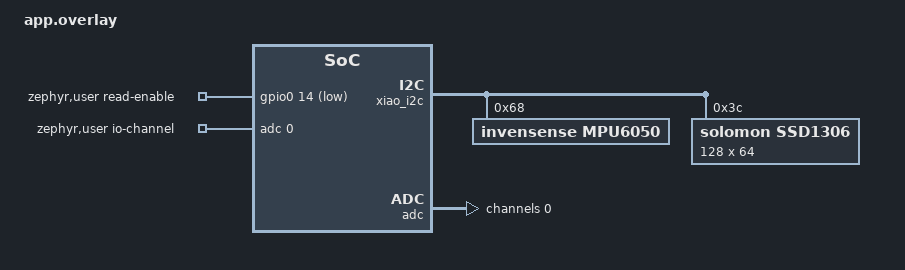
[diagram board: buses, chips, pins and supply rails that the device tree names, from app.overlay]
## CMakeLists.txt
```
# SPDX-License-Identifier: Apache-2.0

cmake_minimum_required(VERSION 3.28.0)
option(WATCH_CALIBRATION "Build the USB wrist calibration recorder" OFF)
if(WATCH_CALIBRATION)
  set(CONF_FILE "${CMAKE_CURRENT_SOURCE_DIR}/calibration.conf" CACHE STRING "Calibration Kconfig file" FORCE)
  set(EXTRA_DTC_OVERLAY_FILE "${CMAKE_CURRENT_SOURCE_DIR}/calibration.overlay")
endif()
find_package(Zephyr REQUIRED HINTS $ENV{ZEPHYR_BASE})
project(xiao_wearable)

if(WATCH_CALIBRATION)
  target_sources(app PRIVATE src/calibration.c)
else()
  target_sources(app PRIVATE src/main.c)
endif()
```

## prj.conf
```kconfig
CONFIG_I2C=y
CONFIG_ADC=y
CONFIG_GPIO=y
CONFIG_DISPLAY=y
CONFIG_SSD1306=y
CONFIG_CHARACTER_FRAMEBUFFER=y
CONFIG_PRINTK=y
CONFIG_LOG=y
CONFIG_BT=y
CONFIG_BT_PERIPHERAL=y
CONFIG_BT_DEVICE_NAME="FitnessWatch"
CONFIG_BT_MAX_CONN=1
CONFIG_MAIN_STACK_SIZE=4096
CONFIG_FPU=y
CONFIG_FPU_SHARING=y
CONFIG_SYSTEM_WORKQUEUE_STACK_SIZE=2048
CONFIG_HEAP_MEM_POOL_SIZE=4096
CONFIG_SENSOR=y
CONFIG_MPU6050=y
CONFIG_MPU6050_TRIGGER_NONE=y
CONFIG_FLASH=y
CONFIG_NVS=y
CONFIG_NVS_DATA_CRC=y
CONFIG_MPU_ALLOW_FLASH_WRITE=y
```

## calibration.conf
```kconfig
CONFIG_I2C=y
CONFIG_DISPLAY=y
CONFIG_SSD1306=y
CONFIG_CHARACTER_FRAMEBUFFER=y
CONFIG_SENSOR=y
CONFIG_MPU6050=y
CONFIG_MPU6050_TRIGGER_NONE=y
CONFIG_MAIN_STACK_SIZE=4096
CONFIG_SYSTEM_WORKQUEUE_STACK_SIZE=2048
CONFIG_HEAP_MEM_POOL_SIZE=4096
CONFIG_LOG=n
CONFIG_PRINTK=n
CONFIG_BOOT_BANNER=n
CONFIG_CRC=y
CONFIG_UART_LINE_CTRL=y
```

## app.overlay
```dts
#include <zephyr/dt-bindings/adc/adc.h>
#include <zephyr/dt-bindings/adc/nrf-saadc.h>
#include <zephyr/dt-bindings/gpio/gpio.h>

/*
 * XIAO nRF52840 wearable peripherals.
 *
 * The OLED and external sensors sit on the XIAO header I2C bus (xiao_i2c = i2c1):
 *   SDA = D4 / P0.04
 *   SCL = D5 / P0.05
 * The MPU-6050 address assumes AD0 is low.
 *
 * SPDX-License-Identifier: Apache-2.0
 */

&lsm6ds3tr_c {
	status = "disabled";
};

&xiao_i2c {
	status = "okay";

	/* Fermion I2C/UART module: application uses DFRobot MCU protocol.
	 * Do not bind the bare MAX30102 register driver to this address. */

	mpu6050: mpu6050@68 {
		compatible = "invensense,mpu6050";
		reg = <0x68>;
	};
	/* SSD1306 128x64 monochrome OLED (driven by the SSD1306 driver) */
	ssd1306: ssd1306@3c {
		compatible = "solomon,ssd1306";
		reg = <0x3c>;
		width = <128>;
		height = <64>;
		segment-offset = <0>;
		page-offset = <0>;
		display-offset = <0>;
		multiplex-ratio = <63>;
		segment-remap;
		com-invdir;
		prechargep = <0x22>;
		status = "okay";
	};
};

/ {
	zephyr,user {
		io-channels = <&adc 0>;
		read-enable-gpios = <&gpio0 14 (GPIO_ACTIVE_LOW | GPIO_OPEN_DRAIN)>;
	};

	chosen {
		zephyr,display = &ssd1306;
	};
};

&adc {
	#address-cells = <1>;
	#size-cells = <0>;

	channel@0 {
		reg = <0>;
		zephyr,gain = "ADC_GAIN_1_3";
		zephyr,reference = "ADC_REF_INTERNAL";
		zephyr,acquisition-time = <ADC_ACQ_TIME(ADC_ACQ_TIME_MICROSECONDS, 40)>;
		zephyr,input-positive = <NRF_SAADC_AIN7>;
		zephyr,resolution = <12>;
		zephyr,oversampling = <4>;
	};
};
```

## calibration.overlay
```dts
&board_cdc_acm_uart {
	hw-flow-control;
	tx-fifo-size = <4096>;
};
```

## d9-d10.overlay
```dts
/* SPDX-License-Identifier: Apache-2.0 */

#include <zephyr/dt-bindings/pinctrl/nrf-pinctrl.h>

/* D9 is SDA (P1.14) and D10 is SCL (P1.15). */
&i2c1_default {
	group1 {
		psels = <NRF_PSEL(TWIM_SDA, 1, 14)>,
			<NRF_PSEL(TWIM_SCL, 1, 15)>;
	};
};

&i2c1_sleep {
	group1 {
		psels = <NRF_PSEL(TWIM_SDA, 1, 14)>,
			<NRF_PSEL(TWIM_SCL, 1, 15)>;
	};
};

&xiao_spi {
	status = "disabled";
};
```

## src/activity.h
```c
#ifndef WATCH_ACTIVITY_H
#define WATCH_ACTIVITY_H

#include <stdbool.h>
#include <stdint.h>

struct watch_steps {
 uint32_t count;
 uint32_t last_peak_ms;
 uint32_t previous_interval_ms;
 float gravity;
 float dynamic;
 uint8_t streak;
 bool initialized;
 bool above;
};

static inline float watch_squared_magnitude(const int32_t axes[3])
{
 return (float)axes[0] * axes[0] + (float)axes[1] * axes[1] + (float)axes[2] * axes[2];
}

static inline void watch_steps_break(struct watch_steps *s)
{
 *s = (struct watch_steps){.count = s->count};
}

static inline void watch_steps_sample(struct watch_steps *s, uint32_t now, const int32_t accel[3])
{
 float magnitude = watch_squared_magnitude(accel);
 if (!s->initialized) {
  s->gravity = magnitude;
  s->initialized = true;
 }
 s->gravity += (magnitude - s->gravity) / 16;
 s->dynamic += (magnitude - s->gravity - s->dynamic) / 3;
 if (s->dynamic < 5000000.0f) s->above = false;
 if (s->above || s->dynamic < 19000000.0f) return;
 s->above = true;

 uint32_t interval = now - s->last_peak_ms;
 if (s->streak && interval < 280) return;
 s->last_peak_ms = now;
 if (!s->streak || interval > 1150) {
  s->streak = 1;
  s->previous_interval_ms = 0;
  return;
 }
 uint32_t previous = s->previous_interval_ms;
 uint32_t difference = interval > previous ? interval - previous : previous - interval;
 if (previous && difference > previous / 3) {
  s->streak = 1;
  s->previous_interval_ms = 0;
  return;
 }
 s->previous_interval_ms = interval;
 /* Credit the first three peaks once a walking cadence is established. */
 if (s->streak < 3) {
  if (++s->streak == 3) s->count += 3;
 } else {
  ++s->count;
 }
}

static inline bool watch_is_moving(const struct watch_steps *s, const int32_t gyro[3])
{
 return watch_squared_magnitude(gyro) >= 250000.0f ||
        s->dynamic > 12000000.0f || s->dynamic < -12000000.0f;
}

struct watch_clock {
 uint32_t epoch;
 int16_t offset_minutes;
 int64_t set_at_ms;
};

static inline bool watch_clock_set(struct watch_clock *clock, uint32_t epoch, int16_t offset,
                                   int64_t now)
{
 if (epoch < 946684800 || offset < -720 || offset > 840) return false;
 *clock = (struct watch_clock){.epoch = epoch, .offset_minutes = offset, .set_at_ms = now};
 return true;
}

static inline uint32_t watch_clock_seconds(const struct watch_clock *clock, int64_t now)
{
 if (!clock->epoch || now < clock->set_at_ms) return 0;
 uint64_t epoch = clock->epoch + (uint64_t)(now - clock->set_at_ms) / 1000;
 return epoch <= UINT32_MAX ? (uint32_t)epoch : 0;
}

#define WATCH_DAILY_STEP_GOAL 10000U

struct watch_daily_step_record {
 uint32_t day;
 uint32_t steps;
};

struct watch_daily_steps {
 struct watch_daily_step_record record;
 uint32_t last_session_count;
};

static inline void watch_daily_steps_update(struct watch_daily_steps *daily, uint32_t epoch,
                                            int16_t offset_minutes, uint32_t session_count)
{
 if (!epoch) return;
 uint32_t day = ((int64_t)epoch + (int32_t)offset_minutes * 60) / 86400;
 if (day != daily->record.day) {
  daily->record = (struct watch_daily_step_record){.day = day};
 }
 daily->record.steps += session_count - daily->last_session_count;
 daily->last_session_count = session_count;
}

static inline uint16_t watch_step_goal_fill(uint32_t steps, uint16_t width)
{
 if (steps >= WATCH_DAILY_STEP_GOAL) return width;
 return steps * width / WATCH_DAILY_STEP_GOAL;
}
#endif
```

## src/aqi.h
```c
/* SPDX-License-Identifier: Apache-2.0 */
#ifndef WATCH_AQI_H
#define WATCH_AQI_H

#include <stdbool.h>
#include <stdint.h>

#define WATCH_AQI_PACKET_SIZE 5U
#define WATCH_AQI_MAX_VALID_SECONDS 7200U

struct watch_aqi {
 int64_t expires_ms;
 uint16_t value;
};

static inline bool watch_aqi_receive(struct watch_aqi *reading,
                                    const uint8_t data[WATCH_AQI_PACKET_SIZE], int64_t now)
{
 if (data[0] != 2) return false;
 uint16_t value = data[1] | ((uint16_t)data[2] << 8);
 uint16_t valid_seconds = data[3] | ((uint16_t)data[4] << 8);
 if (value > 500 || valid_seconds == 0 || valid_seconds > WATCH_AQI_MAX_VALID_SECONDS) return false;
 reading->value = value;
 reading->expires_ms = now + (int64_t)valid_seconds * 1000;
 return true;
}

static inline bool watch_aqi_current(const struct watch_aqi *reading, int64_t now,
                                    uint16_t *value)
{
 if (now >= reading->expires_ms) return false;
 *value = reading->value;
 return true;
}

/* For a current reading, its remaining lifetime encodes the age at sync. */
static inline uint16_t watch_aqi_age_minutes(const struct watch_aqi *reading, int64_t now)
{
 return (WATCH_AQI_MAX_VALID_SECONDS * 1000 - (reading->expires_ms - now)) / 60000;
}

static inline const char *watch_aqi_category(uint16_t value)
{
 if (value <= 50) return "Good";
 if (value <= 100) return "Satisfactory";
 if (value <= 200) return "Moderate";
 if (value <= 300) return "Poor";
 if (value <= 400) return "Very Poor";
 return "Severe";
}

#endif
```

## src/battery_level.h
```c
/* SPDX-License-Identifier: Apache-2.0 */
#ifndef WATCH_BATTERY_LEVEL_H
#define WATCH_BATTERY_LEVEL_H

#include <stdbool.h>
#include <stdio.h>

static inline int watch_battery_millivolts(int divided_mv)
{
 return (divided_mv * 1510 + 255) / 510;
}

static inline int watch_battery_label(char label[5], bool usb_power, int battery_mv)
{
 if (usb_power) {
  snprintf(label, 5, "USB");
  return -1;
 } else if (battery_mv < 2500 || battery_mv > 4350) {
  snprintf(label, 5, "--%%");
  return -1;
 }
 /* Approximate a single-cell LiPo under watch load over 3.4–4.2 V. */
 int percent = battery_mv <= 3400 ? 0 :
               battery_mv >= 4200 ? 100 : (battery_mv - 3400 + 4) / 8;
 snprintf(label, 5, "%d%%", percent);
 return percent;
}

static inline int watch_battery_fill(int percent, int columns)
{
 if (percent <= 0) return 0;
 return (percent * columns + 99) / 100;
}

#endif
```

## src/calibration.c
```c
/* SPDX-License-Identifier: Apache-2.0 */
#include <zephyr/device.h>
#include <zephyr/display/cfb.h>
#include <zephyr/drivers/sensor.h>
#include <zephyr/drivers/uart.h>
#include <zephyr/sys/crc.h>
#include <stdarg.h>
#include <stdio.h>
#include "max30102.h"

static const struct device *const bus = DEVICE_DT_GET(DT_NODELABEL(xiao_i2c));
static const struct device *const imu = DEVICE_DT_GET(DT_NODELABEL(mpu6050));
static const struct device *const oled = DEVICE_DT_GET(DT_CHOSEN(zephyr_display));
static const struct device *const usb = DEVICE_DT_GET(DT_CHOSEN(zephyr_console));

static void emit(const char *format, ...)
{
 char frame[112];
 va_list args;
 va_start(args, format);
 int length = vsnprintf(frame, sizeof(frame) - 7, format, args);
 va_end(args);
 if (length < 0 || (size_t)length >= sizeof(frame) - 7) return;

 uint16_t crc = crc16_itu_t(0xffff, (const uint8_t *)frame, length);
 length += snprintf(frame + length, sizeof(frame) - length, "*%04x\n", (unsigned int)crc);
 for (int i = 0; i < length; ++i) uart_poll_out(usb, frame[i]);
}

static void record_motion(uint32_t sequence, uint32_t now)
{
 struct sensor_value axes[6];
 int err = device_is_ready(imu) ? sensor_sample_fetch(imu) : -ENODEV;
 if (!err) err = sensor_channel_get(imu, SENSOR_CHAN_ACCEL_XYZ, axes);
 if (!err) err = sensor_channel_get(imu, SENSOR_CHAN_GYRO_XYZ, axes + 3);
 if (err) {
  emit("E,%u,IMU,%d", now, err);
  return;
 }
 int32_t scaled[6];
 for (unsigned i = 0; i < ARRAY_SIZE(scaled); ++i) {
  scaled[i] = sensor_value_to_micro(&axes[i]) / 1000;
 }
 emit("M,%u,%u,%d,%d,%d,%d,%d,%d", sequence, now,
      scaled[0], scaled[1], scaled[2], scaled[3], scaled[4], scaled[5]);
}

int main(void)
{
 if (device_is_ready(oled) && cfb_framebuffer_init(oled) == 0) {
  cfb_framebuffer_invert(oled);
  display_blanking_off(oled);
  cfb_framebuffer_clear(oled, false);
  cfb_print(oled, "USB calibration", 0, 0);
  cfb_print(oled, "Run capture", 0, 16);
  cfb_framebuffer_finalize(oled);
 }
 if (!device_is_ready(usb)) return -ENODEV;

 bool recording = false;
 bool optical_started = false;
 uint32_t optical_sequence = 0, motion_sequence = 0;
 int64_t next_retry = 0, next_motion = 0;
 while (1) {
  uint32_t dtr = 0;
  if (uart_line_ctrl_get(usb, UART_LINE_CTRL_DTR, &dtr) || !dtr) {
   recording = false;
   k_sleep(K_MSEC(25));
   continue;
  }
  int64_t now = k_uptime_get();
  unsigned char command;
  while (uart_poll_in(usb, &command) == 0) {
   if (command == 'S' && !recording) {
    recording = true;
    optical_started = false;
    next_retry = now;
    next_motion = now;
    ++optical_sequence;
   } else if (command == 'X') {
    recording = false;
   }
  }
  if (!recording) {
   k_sleep(K_MSEC(10));
   continue;
  }
  if (!optical_started && now >= next_retry) {
   int err = device_is_ready(bus) ? max30102_start(bus) : -ENODEV;
   optical_started = err == 0;
   next_retry = now + 1000;
   if (err) emit("E,%u,PPG,%d", (uint32_t)now, err);
  }
  if (optical_started) {
   struct max30102_sample samples[31];
   int count = max30102_read_fifo(bus, samples, ARRAY_SIZE(samples));
   if (count < 0 && count != -EAGAIN) {
    emit("E,%u,PPG,%d", (uint32_t)now, count);
    ++optical_sequence;
    optical_started = false;
    next_retry = now + 1000;
   }
   for (int i = 0; i < count; ++i) {
    emit("P,%u,%u,%u,%u", optical_sequence++, (uint32_t)now,
         samples[i].red, samples[i].ir);
   }
  }
  if (now >= next_motion) {
   record_motion(motion_sequence++, (uint32_t)now);
   next_motion += 40;
   if (next_motion <= now) next_motion = now + 40;
  }
  k_sleep(K_MSEC(5));
 }
}
```

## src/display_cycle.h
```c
/* SPDX-License-Identifier: Apache-2.0 */
#ifndef WATCH_DISPLAY_CYCLE_H
#define WATCH_DISPLAY_CYCLE_H

#include <stdbool.h>
#include <stddef.h>
#include <stdint.h>

enum watch_display_page {
 WATCH_DISPLAY_SPLASH = -1,
 WATCH_DISPLAY_TIME,
 WATCH_DISPLAY_BPM,
 WATCH_DISPLAY_STEPS,
 WATCH_DISPLAY_AQI,
 WATCH_DISPLAY_PAGE_COUNT,
};

struct watch_screen_order {
 uint8_t count;
 uint8_t pages[WATCH_DISPLAY_PAGE_COUNT];
};

#define WATCH_DEFAULT_SCREEN_ORDER { .count = WATCH_DISPLAY_PAGE_COUNT, \
 .pages = {WATCH_DISPLAY_TIME, WATCH_DISPLAY_BPM, WATCH_DISPLAY_STEPS, WATCH_DISPLAY_AQI} }
#define WATCH_SCREEN_PACKET_MAX (1 + WATCH_DISPLAY_PAGE_COUNT)

static inline bool watch_screen_order_decode(struct watch_screen_order *order,
                                            const uint8_t *data, size_t len)
{
 if (len < 2 || len > WATCH_SCREEN_PACKET_MAX || data[0] != 1) return false;
 struct watch_screen_order candidate = {.count = len - 1};
 unsigned seen = 0;
 for (size_t i = 0; i < candidate.count; i++) {
  uint8_t page = data[1 + i];
  if (page >= WATCH_DISPLAY_PAGE_COUNT || (seen & (1U << page))) return false;
  seen |= 1U << page;
  candidate.pages[i] = page;
 }
 *order = candidate;
 return true;
}

static inline size_t watch_screen_order_encode(const struct watch_screen_order *order,
                                              uint8_t data[WATCH_SCREEN_PACKET_MAX])
{
 data[0] = 1;
 for (size_t i = 0; i < order->count; i++) data[i + 1] = order->pages[i];
 return 1 + order->count;
}

static inline enum watch_display_page watch_configured_page_at(uint64_t elapsed_ms,
                                                              uint64_t changed_ms,
                                                              const struct watch_screen_order *order)
{
 const uint64_t splash_ms = 3000U;
 const uint64_t page_duration_ms = 5000U;
 if (elapsed_ms < splash_ms) return WATCH_DISPLAY_SPLASH;
 uint64_t cycle_start = changed_ms > splash_ms ? changed_ms : splash_ms;
 uint64_t cycle_elapsed = elapsed_ms > cycle_start ? elapsed_ms - cycle_start : 0;
 return order->pages[(cycle_elapsed / page_duration_ms) % order->count];
}

#endif
```

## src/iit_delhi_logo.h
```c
#ifndef WATCH_IIT_DELHI_LOGO_H
#define WATCH_IIT_DELHI_LOGO_H

#include <stdint.h>

/* IIT Delhi seal: https://home.iitd.ac.in/images/preloaders/logo.png
 * Alpha mask downsampled to 60 x 60, then packed by row, MSB first.
 */
#define IIT_DELHI_LOGO_WIDTH 60
#define IIT_DELHI_LOGO_HEIGHT 60
#define IIT_DELHI_LOGO_STRIDE ((IIT_DELHI_LOGO_WIDTH + 7) / 8)

static const uint8_t iit_delhi_logo[IIT_DELHI_LOGO_HEIGHT][IIT_DELHI_LOGO_STRIDE] = {
 {0x00, 0x00, 0x00, 0x46, 0x20, 0x00, 0x00, 0x00},
 {0x00, 0x00, 0x04, 0xef, 0x72, 0x00, 0x00, 0x00},
 {0x00, 0x00, 0x0e, 0xff, 0xf7, 0x00, 0x00, 0x00},
 {0x00, 0x00, 0xdf, 0xff, 0xff, 0xb0, 0x00, 0x00},
 {0x00, 0x01, 0xff, 0x00, 0x0f, 0xf8, 0x00, 0x00},
 {0x00, 0x05, 0xf8, 0x00, 0x01, 0xfa, 0x00, 0x00},
 {0x00, 0x0f, 0xc0, 0x02, 0x00, 0x3f, 0x00, 0x00},
 {0x00, 0x0f, 0x80, 0xe5, 0x00, 0x1f, 0x00, 0x00},
 {0x00, 0x6e, 0x03, 0x0c, 0x34, 0x07, 0x60, 0x00},
 {0x00, 0xfc, 0x16, 0x00, 0x07, 0x03, 0xf0, 0x00},
 {0x00, 0xf8, 0x20, 0x00, 0x01, 0x81, 0xf0, 0x00},
 {0x00, 0x70, 0x20, 0x00, 0x00, 0x20, 0x60, 0x00},
 {0x03, 0xe0, 0x00, 0x0f, 0x00, 0x20, 0x7c, 0x00},
 {0x07, 0xc3, 0x02, 0x3f, 0xc4, 0x04, 0x3e, 0x00},
 {0x03, 0x8c, 0x0f, 0xff, 0xff, 0x02, 0x1c, 0x00},
 {0x0f, 0x08, 0x1f, 0xc0, 0x7f, 0x84, 0x0d, 0x00},
 {0x1f, 0x00, 0x1f, 0x00, 0x0f, 0x81, 0x0f, 0x80},
 {0x1e, 0x10, 0x1c, 0x00, 0x03, 0x80, 0x87, 0x80},
 {0x0c, 0x20, 0x30, 0x00, 0x01, 0xe0, 0xc3, 0x00},
 {0x0c, 0x21, 0xe0, 0x30, 0xc0, 0xf8, 0x63, 0x80},
 {0x3c, 0x63, 0xc0, 0x80, 0x10, 0x7c, 0x43, 0xc0},
 {0x78, 0x03, 0xc1, 0x00, 0x08, 0x3c, 0x01, 0xe0},
 {0x38, 0x07, 0x82, 0x00, 0x04, 0x1e, 0x01, 0xc0},
 {0x18, 0x03, 0x04, 0x02, 0x02, 0x1c, 0x01, 0x80},
 {0x70, 0x03, 0x08, 0x30, 0x80, 0x0c, 0x00, 0xe0},
 {0xf0, 0x03, 0x08, 0x44, 0x41, 0x0c, 0x00, 0xf0},
 {0x70, 0x06, 0x00, 0x4e, 0x20, 0x06, 0x00, 0xe0},
 {0x31, 0x86, 0x00, 0x9b, 0x10, 0x87, 0x0c, 0xc0},
 {0x70, 0x0e, 0x00, 0x00, 0x10, 0x87, 0x00, 0xe0},
 {0xf0, 0x0e, 0x00, 0x8c, 0x10, 0x87, 0x00, 0xf0},
 {0xf0, 0x0e, 0x08, 0x1f, 0x90, 0x87, 0x00, 0xf0},
 {0x70, 0x0e, 0x08, 0x27, 0x10, 0x87, 0x00, 0xe0},
 {0x30, 0x0e, 0x04, 0x32, 0x20, 0x86, 0x00, 0xc0},
 {0x70, 0x06, 0x00, 0x40, 0x20, 0x06, 0x00, 0xe0},
 {0xf1, 0x83, 0x02, 0x80, 0x61, 0x04, 0x18, 0xf0},
 {0x71, 0x83, 0x01, 0x80, 0x90, 0x0c, 0x18, 0xe0},
 {0x19, 0x83, 0x01, 0xc3, 0x02, 0x0c, 0x11, 0x80},
 {0x38, 0xc3, 0x81, 0x00, 0x0c, 0x1e, 0x01, 0xc0},
 {0x78, 0xc3, 0xc2, 0x00, 0x00, 0x1c, 0x11, 0xe0},
 {0x3c, 0x43, 0xc2, 0x06, 0x04, 0x3c, 0x23, 0xc0},
 {0x1c, 0x61, 0xe4, 0xcf, 0x12, 0x78, 0x63, 0x80},
 {0x0c, 0x60, 0x3d, 0xcb, 0x32, 0xc0, 0x63, 0x00},
 {0x1e, 0x30, 0x18, 0xc0, 0x31, 0x80, 0x07, 0x80},
 {0x1f, 0x10, 0x18, 0xc0, 0x00, 0x81, 0x87, 0x80},
 {0x0f, 0x00, 0x10, 0x00, 0x00, 0x80, 0x0f, 0x00},
 {0x03, 0x8c, 0x09, 0xc0, 0x3b, 0x03, 0x1c, 0x00},
 {0x07, 0xc6, 0x02, 0x30, 0xc4, 0x06, 0x3e, 0x00},
 {0x03, 0xe3, 0x00, 0x19, 0x00, 0x04, 0x7c, 0x00},
 {0x00, 0x60, 0xc0, 0x00, 0x00, 0x30, 0x60, 0x00},
 {0x00, 0xf8, 0x10, 0x00, 0x00, 0x71, 0xf0, 0x00},
 {0x00, 0xfc, 0x10, 0x00, 0x01, 0xc3, 0xf0, 0x00},
 {0x00, 0x6e, 0x0f, 0x80, 0x07, 0x07, 0x60, 0x00},
 {0x00, 0x0f, 0x80, 0x9d, 0xf4, 0x1f, 0x00, 0x00},
 {0x00, 0x0f, 0xc0, 0x1c, 0x00, 0x3f, 0x00, 0x00},
 {0x00, 0x04, 0xf8, 0x00, 0x01, 0xfa, 0x00, 0x00},
 {0x00, 0x01, 0xff, 0x00, 0x0f, 0xf8, 0x00, 0x00},
 {0x00, 0x00, 0xdf, 0xff, 0xff, 0xb0, 0x00, 0x00},
 {0x00, 0x00, 0x0e, 0xff, 0xf7, 0x00, 0x00, 0x00},
 {0x00, 0x00, 0x04, 0xef, 0x72, 0x00, 0x00, 0x00},
 {0x00, 0x00, 0x00, 0x46, 0x20, 0x00, 0x00, 0x00},
};

#endif
```

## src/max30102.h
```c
/* SPDX-License-Identifier: Apache-2.0 */
#ifndef WATCH_MAX30102_H
#define WATCH_MAX30102_H
#include <zephyr/drivers/i2c.h>
#include <zephyr/kernel.h>
#include <errno.h>

#define MAX30102_ADDR 0x57
#define MAX30102_FIFO_WR 0x04
#define MAX30102_FIFO_DATA 0x07
#define MAX30102_MODE 0x09
#define MAX30102_PART_ID 0xff

static inline int max30102_start(const struct device *bus)
{
 uint8_t id;
 int err = i2c_reg_read_byte(bus, MAX30102_ADDR, MAX30102_PART_ID, &id);
 if (err) return err;
 if (id != 0x15) return -ENODEV;

 err = i2c_reg_write_byte(bus, MAX30102_ADDR, MAX30102_MODE, 0x40);
 if (err) return err;
 uint8_t mode;
 for (int attempt = 0; attempt < 10; attempt++) {
  k_sleep(K_MSEC(5));
  err = i2c_reg_read_byte(bus, MAX30102_ADDR, MAX30102_MODE, &mode);
  if (err) return err;
  if (!(mode & 0x40)) break;
 }
 if (mode & 0x40) return -ETIMEDOUT;

 /* Clear FIFO pointers, disable averaging, use 50 Hz at 18 bits,
  * and drive each LED at about 6.4 mA for the bench test. */
 const uint8_t settings[][2] = {
  {0x04, 0}, {0x05, 0}, {0x06, 0}, {0x08, 0x00}, {0x0a, 0x23},
  {0x0c, 0x20}, {0x0d, 0x20}, {MAX30102_MODE, 0x03},
 };
 for (size_t i = 0; i < ARRAY_SIZE(settings); i++) {
  err = i2c_reg_write_byte(bus, MAX30102_ADDR, settings[i][0], settings[i][1]);
  if (err) return err;
 }
 return 0;
}

struct max30102_sample {
 uint32_t red;
 uint32_t ir;
};

static inline int max30102_read_fifo(const struct device *bus,
                                    struct max30102_sample *samples, unsigned capacity)
{
 uint8_t pointers[3];
 int err = i2c_burst_read(bus, MAX30102_ADDR, MAX30102_FIFO_WR, pointers, sizeof(pointers));
 if (err) return err;
 if (pointers[1]) return -EOVERFLOW;
 unsigned count = (pointers[0] - pointers[2]) & 0x1f;
 if (!count) return -EAGAIN;
 if (count > capacity) count = capacity;
 for (unsigned i = 0; i < count; ++i) {
  uint8_t data[6];
  err = i2c_burst_read(bus, MAX30102_ADDR, MAX30102_FIFO_DATA, data, sizeof(data));
  if (err) return err;
  samples[i].red = ((uint32_t)(data[0] & 3) << 16) | ((uint32_t)data[1] << 8) | data[2];
  samples[i].ir = ((uint32_t)(data[3] & 3) << 16) | ((uint32_t)data[4] << 8) | data[5];
 }
 return (int)count;
}
#endif
```

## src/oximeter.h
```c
#ifndef WATCH_OXIMETER_H
#define WATCH_OXIMETER_H

#include <math.h>
#include "pulse.h"

enum { OXIMETER_WINDOW = 4 * PULSE_MAX_LAG };

struct oximeter_channel {
 struct pulse_ir_filter median;
 float baseline;
 float slow;
 float filtered;
 float dc_level;
};

struct watch_oximeter {
 struct oximeter_channel red;
 struct oximeter_channel ir;
 float filtered[OXIMETER_WINDOW][2];
 unsigned samples;
 unsigned next;
};

static inline void oximeter_reset(struct watch_oximeter *state)
{
 state->red = (struct oximeter_channel){0};
 state->ir = (struct oximeter_channel){0};
 state->samples = 0;
 state->next = 0;
}

static inline void oximeter_channel_sample(struct oximeter_channel *channel, float value,
                                           bool first)
{
 if (first) {
  channel->baseline = value;
  channel->dc_level = value;
 }
 channel->dc_level += (value - channel->dc_level) / 100;
 channel->baseline += (value - channel->baseline) / 8;
 float high = value - channel->baseline;
 channel->slow += (high - channel->slow) / 8;
 channel->filtered += (high - channel->slow - channel->filtered) / 4;
}

static inline void oximeter_sample(struct watch_oximeter *state, uint32_t red, uint32_t ir,
                                  bool moving)
{
 if (moving) {
  oximeter_reset(state);
  return;
 }
 red = pulse_filter_ir(&state->red.median, red);
 ir = pulse_filter_ir(&state->ir.median, ir);
 if (red < 1000 || red >= 261000 || ir < 1000 || ir >= 261000) {
  oximeter_reset(state);
  return;
 }
 bool first = state->samples == 0;
 oximeter_channel_sample(&state->red, red, first);
 oximeter_channel_sample(&state->ir, ir, first);
 state->filtered[state->next][0] = state->red.filtered;
 state->filtered[state->next][1] = state->ir.filtered;
 state->next = (state->next + 1) % OXIMETER_WINDOW;
 if (state->samples < OXIMETER_WINDOW) ++state->samples;
}

struct oximeter_projection {
 float real;
 float imaginary;
 float sum;
 float power;
};

/* Compare the pulse-frequency component in both channels, excluding energy
 * outside that band from the red/IR amplitude ratio. */
static inline float oximeter_segment_ratio(const struct watch_oximeter *state,
                                            unsigned start, unsigned lag)
{
 const unsigned length = 2 * lag;
 float rotation = 6.283185307f / lag;
 float step_cos = cosf(rotation), step_sin = sinf(rotation);
 float phase_cos = 1, phase_sin = 0;
 struct oximeter_projection channel[2] = {0};
 for (unsigned i = 0; i < length; ++i) {
  for (unsigned c = 0; c < 2; ++c) {
   float value = state->filtered[start][c];
   channel[c].real += value * phase_cos;
   channel[c].imaginary += value * phase_sin;
   channel[c].sum += value;
   channel[c].power += value * value;
  }
  float next_cos = phase_cos * step_cos - phase_sin * step_sin;
  phase_sin = phase_sin * step_cos + phase_cos * step_sin;
  phase_cos = next_cos;
  start = (start + 1) % OXIMETER_WINDOW;
 }

 float dc[2] = {state->red.dc_level, state->ir.dc_level};
 float magnitude_squared[2];
 for (unsigned c = 0; c < 2; ++c) {
  struct oximeter_projection p = channel[c];
  magnitude_squared[c] = p.real * p.real + p.imaginary * p.imaginary;
  float pulse_power = 2 * magnitude_squared[c] / length;
  float band_power = p.power - p.sum * p.sum / length;
  float minimum_rms = dc[c] * 0.0005f;
  if (pulse_power < minimum_rms * minimum_rms * length ||
      pulse_power < 0.26f * band_power) return 0;
 }
 float phase_match = channel[0].real * channel[1].real +
                    channel[0].imaginary * channel[1].imaginary;
 if (phase_match <= 0 || phase_match * phase_match <
                         0.64f * magnitude_squared[0] * magnitude_squared[1]) return 0;
 return sqrtf(magnitude_squared[0] / magnitude_squared[1]) * dc[1] / dc[0];
}

static inline uint8_t oximeter_trial(const struct watch_oximeter *state, unsigned lag)
{
 if (lag < PULSE_MIN_LAG || lag > PULSE_MAX_LAG ||
     state->samples < 4 * lag || state->samples < 4 * PULSE_RATE_HZ) return 0;
 unsigned start = (state->next + OXIMETER_WINDOW - 4 * lag) % OXIMETER_WINDOW;
 unsigned middle = (start + 2 * lag) % OXIMETER_WINDOW;
 float previous = oximeter_segment_ratio(state, start, lag);
 float recent = oximeter_segment_ratio(state, middle, lag);
 if (previous <= 0 || recent <= 0) return 0;
 float ratio = (previous + recent) / 2;
 if (fabsf(previous - recent) > 0.25f * ratio) return 0;
 /* Published MAX30102 curve for an uncalibrated bench estimate.
  * https://support.analog.com/zh-CN/knowledgebase/article/KA-06685 */
 float estimate = -45.060f * ratio * ratio + 30.354f * ratio + 94.845f;
 if (estimate < 70 || estimate > 100) return 0;
 return (uint8_t)(estimate + 0.5f);
}
#endif
```

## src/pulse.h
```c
#ifndef WATCH_PULSE_H
#define WATCH_PULSE_H

#include <stdbool.h>
#include <stdint.h>
#include <stdlib.h>

/* The optical FIFO delivers 50 samples per second. */
enum {
 PULSE_RATE_HZ = 50,
 PULSE_SETTLE_SAMPLES = 25,
 PULSE_WINDOW_SAMPLES = 200,
 PULSE_EARLY_WINDOW_SAMPLES = 125,
 PULSE_MIN_WINDOW_SAMPLES = 150,
 PULSE_ESTIMATE_STEP = 25,
 PULSE_MIN_LAG = 15,
 PULSE_MAX_LAG = 75,
 PULSE_CONTACT_LOSS_SAMPLES = 100,
 PULSE_HELD_AFTER_SAMPLES = 2 * PULSE_RATE_HZ,
 PULSE_UPDATE_DELTA_BPM = 5,
 PULSE_MEDIAN_WINDOW = 5,
 PULSE_OCTAVE_MEMORY_SAMPLES = 12 * PULSE_RATE_HZ,
 PULSE_OCTAVE_CONFIRMATIONS = 8,
};

struct pulse_ir_filter {
 uint32_t samples[PULSE_MEDIAN_WINDOW];
 uint8_t next;
 bool initialized;
};

struct pulse_state {
 struct pulse_ir_filter ir_filter;
 int32_t baseline;
 int32_t slow;
 int32_t filtered;
 uint32_t contact_samples;
 float window[PULSE_WINDOW_SAMPLES];
 bool moving_window[PULSE_WINDOW_SAMPLES];
 uint16_t window_count;
 uint16_t window_next;
 uint16_t bpm; /* Last accepted value reported to the OLED and BLE. */
 uint16_t samples_since_estimate;
 uint32_t previous_lag_sample;
 uint32_t last_confirmed_sample;
 uint8_t previous_lag;
 uint8_t confirmed_lag;
 uint8_t octave_confirmations;
 uint8_t missing_contact_samples;
 bool contact;
};

/* A centered five-sample median suppresses up to two isolated bad ADC counts. */
static inline uint32_t pulse_filter_ir(struct pulse_ir_filter *filter, uint32_t ir)
{
 if (!filter->initialized) {
  for (unsigned i = 0; i < PULSE_MEDIAN_WINDOW; ++i) filter->samples[i] = ir;
  filter->initialized = true;
 }
 filter->samples[filter->next] = ir;
 filter->next = (filter->next + 1) % PULSE_MEDIAN_WINDOW;

 uint32_t ordered[PULSE_MEDIAN_WINDOW];
 for (unsigned i = 0; i < PULSE_MEDIAN_WINDOW; ++i) {
  uint32_t value = filter->samples[i];
  unsigned position = i;
  while (position > 0 && ordered[position - 1] > value) {
   ordered[position] = ordered[position - 1];
   --position;
  }
  ordered[position] = value;
 }
 return ordered[PULSE_MEDIAN_WINDOW / 2];
}

static inline float pulse_correlation_score(const float *samples, const bool *moving,
                                             unsigned count, unsigned lag)
{
 unsigned overlap = count - lag;
 float sum_a = 0, sum_b = 0, power_a = 0, power_b = 0, cross = 0, weight_sum = 0;
 for (unsigned i = 0; i < overlap; ++i) {
  float a = samples[i];
  float b = samples[i + lag];
  float weight = moving[i] || moving[i + lag] ? 0.25f : 1.0f;
  sum_a += weight * a;
  sum_b += weight * b;
  power_a += weight * a * a;
  power_b += weight * b * b;
  cross += weight * a * b;
  weight_sum += weight;
 }
 power_a -= sum_a * sum_a / weight_sum;
 power_b -= sum_b * sum_b / weight_sum;
 cross -= sum_a * sum_b / weight_sum;
 /* Ignore flat signals and negative correlation. Require at least six counts RMS. */
 if (cross <= 0 || power_a < weight_sum * 36.0f || power_b < weight_sum * 36.0f) return 0;
 return cross * cross / (power_a * power_b);
}

static inline bool pulse_is_peak(const float *scores, unsigned lag)
{
 return scores[lag] >= scores[lag - 1] && scores[lag] > scores[lag + 1];
}

static inline bool pulse_has_second_repeat(const float *scores, unsigned lag, float best)
{
 if (scores[lag] < 0.32f) return false;
 for (unsigned repeat = 2 * lag - 2; repeat <= 2 * lag + 2 && repeat <= PULSE_MAX_LAG; ++repeat) {
  if (pulse_is_peak(scores, repeat) && scores[repeat] >= 0.44f &&
      scores[repeat] >= best * 0.80f && scores[lag] >= scores[repeat] * 0.55f) return true;
 }
 return false;
}

static inline bool pulse_lags_are_octaves(unsigned first, unsigned second)
{
 unsigned faster = first < second ? first : second;
 unsigned slower = first < second ? second : first;
 return abs((int)slower - 2 * (int)faster) * 8 <= 2 * (int)faster;
}

static inline bool pulse_matches_cadence(unsigned lag, unsigned cadence)
{
 unsigned shorter = lag < cadence ? lag : cadence;
 unsigned longer = lag < cadence ? cadence : lag;
 unsigned multiple = (longer + shorter / 2) / shorter;
 return abs((int)longer - (int)(multiple * shorter)) * 8 <= (int)shorter;
}

static inline unsigned pulse_find_lag(const struct pulse_state *p, unsigned cadence)
{
 float samples[PULSE_WINDOW_SAMPLES];
 bool moving[PULSE_WINDOW_SAMPLES];
 float scores[PULSE_MAX_LAG + 2];
 unsigned disturbed = 0;
 unsigned position = (p->window_next + PULSE_WINDOW_SAMPLES - p->window_count) %
                     PULSE_WINDOW_SAMPLES;
 for (unsigned i = 0; i < p->window_count; ++i) {
  samples[i] = p->window[position];
  moving[i] = p->moving_window[position];
  disturbed += moving[i];
  position = (position + 1) % PULSE_WINDOW_SAMPLES;
 }
 /* A flat newest second cannot refresh a BPM from older samples. */
 unsigned newest = p->window_count - PULSE_RATE_HZ;
 if (pulse_correlation_score(samples + newest, moving + newest, PULSE_RATE_HZ, 0) == 0) {
  return 0;
 }
 bool mostly_moving = 4 * disturbed > p->window_count;
 if (mostly_moving && !cadence && 4 * disturbed >= 3 * p->window_count) return 0;
 float minimum = p->window_count < PULSE_MIN_WINDOW_SAMPLES ? 0.70f : 0.44f;
 if (mostly_moving && minimum < 0.64f) minimum = 0.64f;
 for (unsigned lag = PULSE_MIN_LAG - 1; lag <= PULSE_MAX_LAG + 1; ++lag) {
  scores[lag] = pulse_correlation_score(samples, moving, p->window_count, lag);
 }
 /* Scores are squared correlations. Select the first strong peak so a
  * repeat two beats later does not halve the estimate. */
 float best = 0;
 for (unsigned lag = PULSE_MIN_LAG; lag <= PULSE_MAX_LAG; ++lag) {
  if (cadence && pulse_matches_cadence(lag, cadence)) continue;
  if (pulse_is_peak(scores, lag) && scores[lag] > best) best = scores[lag];
 }
 for (unsigned lag = PULSE_MIN_LAG; lag <= PULSE_MAX_LAG; ++lag) {
  if (!pulse_is_peak(scores, lag)) continue;
  if (cadence && pulse_matches_cadence(lag, cadence)) continue;
  if (scores[lag] >= minimum && scores[lag] >= best * 0.80f) return lag;
  /* Alternating strong and weak beats can make the two-beat repeat stronger. */
  if (!cadence && minimum == 0.44f && pulse_has_second_repeat(scores, lag, best)) return lag;
 }
 return 0;
}

static inline void pulse_clear_window(struct pulse_state *p)
{
 p->contact_samples = 0;
 p->window_count = 0;
 p->window_next = 0;
 p->previous_lag = 0;
 p->confirmed_lag = 0;
 p->octave_confirmations = 0;
}

static inline void pulse_sample_motion(struct pulse_state *p, uint32_t ir, bool moving,
                                       unsigned cadence)
{
 ir = pulse_filter_ir(&p->ir_filter, ir);
 if (p->bpm && p->samples_since_estimate < UINT16_MAX) ++p->samples_since_estimate;
 if (ir < 1000 || ir >= 261000) {
  if (p->missing_contact_samples < PULSE_CONTACT_LOSS_SAMPLES) ++p->missing_contact_samples;
  if (p->missing_contact_samples == PULSE_CONTACT_LOSS_SAMPLES) p->bpm = 0;
  p->contact = false;
  pulse_clear_window(p);
  return;
 }
 p->missing_contact_samples = 0;
 p->contact = true;
 if (!p->contact_samples) {
  p->baseline = (int32_t)ir * 256;
  p->slow = 0;
  p->filtered = 0;
 }
 ++p->contact_samples;
 int32_t raw = (int32_t)ir * 256;
 /* Two high-pass stages suppress pressure drift. The low-pass stage attenuates noise. */
 p->baseline += (raw - p->baseline) / 8;
 int32_t above_baseline = raw - p->baseline;
 p->slow += (above_baseline - p->slow) / 8;
 p->filtered += (above_baseline - p->slow - p->filtered) / 4;
 if (p->contact_samples <= PULSE_SETTLE_SAMPLES) return;

 p->window[p->window_next] = p->filtered / 256.0f;
 p->moving_window[p->window_next] = moving;
 p->window_next = (p->window_next + 1) % PULSE_WINDOW_SAMPLES;
 if (p->window_count < PULSE_WINDOW_SAMPLES) ++p->window_count;
 if (p->window_count < PULSE_EARLY_WINDOW_SAMPLES || p->contact_samples % PULSE_ESTIMATE_STEP) return;

 unsigned lag = pulse_find_lag(p, cadence);
 unsigned previous = p->previous_lag;
 unsigned separation = p->contact_samples - p->previous_lag_sample;
 if (!lag) {
  p->octave_confirmations = 0;
  return;
 }
 p->previous_lag = lag;
 p->previous_lag_sample = p->contact_samples;
 if (!previous || separation > 2 * PULSE_ESTIMATE_STEP ||
     abs((int)lag - (int)previous) * 12 > (int)previous) {
  p->octave_confirmations = 0;
  return;
 }

 /* A new lag near twice or half the tracked lag needs stronger evidence. */
 if (p->confirmed_lag && p->contact_samples - p->last_confirmed_sample < PULSE_OCTAVE_MEMORY_SAMPLES &&
     pulse_lags_are_octaves(lag, p->confirmed_lag)) {
  if (++p->octave_confirmations < PULSE_OCTAVE_CONFIRMATIONS) return;
 }
 p->octave_confirmations = 0;
 p->confirmed_lag = lag;
 p->last_confirmed_sample = p->contact_samples;
 uint16_t candidate = (60 * PULSE_RATE_HZ + lag / 2) / lag;
 p->samples_since_estimate = 0;
 if (abs((int)candidate - p->bpm) >= PULSE_UPDATE_DELTA_BPM) p->bpm = candidate;
}

static inline void pulse_sample(struct pulse_state *p, uint32_t ir)
{
 pulse_sample_motion(p, ir, false, 0);
}

#endif
```

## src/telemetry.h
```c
#ifndef WATCH_TELEMETRY_H
#define WATCH_TELEMETRY_H
#include <stdbool.h>
#include <stdint.h>

#define WATCH_RAW_PACKET_SIZE 10
#define WATCH_ACTIVITY_PACKET_SIZE 14
#define WATCH_CLOCK_PACKET_SIZE 7

/* Version, flags, steps, UTC seconds, UTC offset minutes, and IMU die °C × 100. */
static inline void watch_encode_activity(uint8_t *p, uint8_t flags, uint32_t steps,
                                         uint32_t epoch, int16_t offset, int16_t temperature)
{
 p[0] = 1;
 p[1] = flags;
 for (int i = 0; i < 4; ++i) {
  p[2 + i] = steps >> (8 * i);
  p[6 + i] = epoch >> (8 * i);
 }
 p[10] = (uint16_t)offset;
 p[11] = (uint16_t)offset >> 8;
 p[12] = (uint16_t)temperature;
 p[13] = (uint16_t)temperature >> 8;
}

/* Version, sample availability, then red and IR as little-endian uint32s. */
static inline void watch_encode_raw(uint8_t *p, bool available, uint32_t red, uint32_t ir)
{
 p[0] = 1;
 p[1] = available;
 for (int i = 0; i < 4; ++i) {
  p[2 + i] = available ? red >> (8 * i) : 0;
  p[6 + i] = available ? ir >> (8 * i) : 0;
 }
}

static inline void watch_encode(uint8_t *p, uint8_t status, uint16_t seq,
                                uint32_t seconds, uint16_t bpm, uint8_t spo2)
{
 p[0]=1; p[1]=status; p[2]=seq; p[3]=seq>>8;
 for (int i=0;i<4;i++) p[4+i]=seconds>>(8*i);
 p[8]=bpm; p[9]=bpm>>8; p[10]=spo2; p[11]=0;
}
static inline uint16_t watch_bpm(const uint8_t *p)
{
 uint32_t n=((uint32_t)p[2]<<24)|((uint32_t)p[3]<<16)|((uint32_t)p[4]<<8)|p[5];
 return n>=25 && n<=250 ? (uint16_t)n : 0;
}
#endif
```
